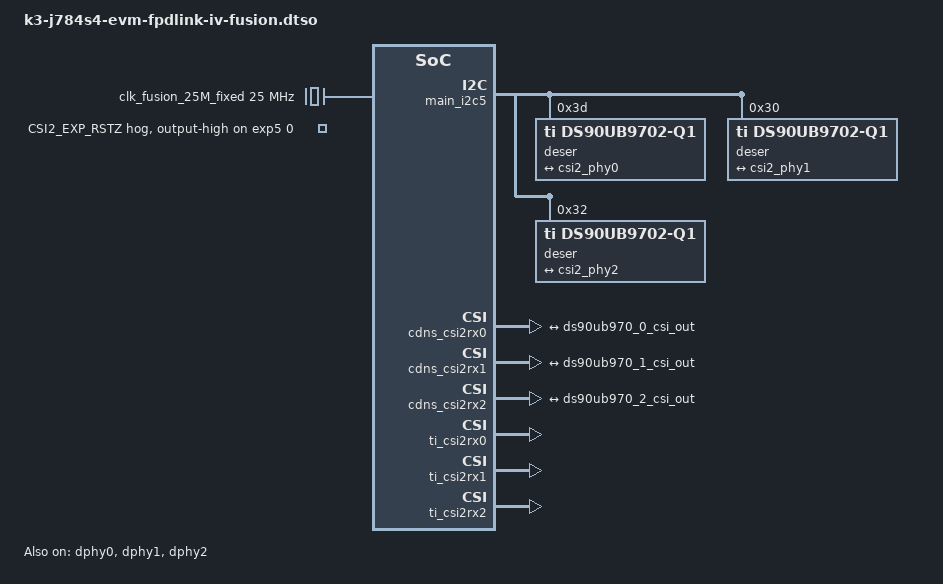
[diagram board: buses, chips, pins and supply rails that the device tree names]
// SPDX-License-Identifier: GPL-2.0-only OR MIT
/*
 * DT Overlay for FPDLink IV UB9702 Deserializer on J784S4 EVM
 * https://www.ti.com/tool/J7EXPA01EVM
 *
 * Copyright (C) 2025 Texas Instruments Incorporated - https://www.ti.com/
 */

/dts-v1/;
/plugin/;

#include <dt-bindings/gpio/gpio.h>

&{/} {
	clk_fusion_25M_fixed: fixed-clock-25M {
		compatible = "fixed-clock";
		#clock-cells = <0>;
		clock-frequency = <25000000>;
	};
};

&exp5 {
	p0-hog{
		gpio-hog;
		gpios = <0 GPIO_ACTIVE_HIGH>;
		output-high;
		line-name = "CSI2_EXP_RSTZ";
	};
};

&main_i2c5 {
	#address-cells = <1>;
	#size-cells = <0>;
	status = "okay";

	deser@3d {
		compatible = "ti,ds90ub9702-q1";
		reg = <0x3d>;
		clocks = <&clk_fusion_25M_fixed>;
		clock-names = "refclk";
		i2c-alias-pool = <0x4a 0x4b 0x4c 0x4d 0x4e 0x4f>;

		deserializer_0_ports: ports {
			#address-cells = <1>;
			#size-cells = <0>;

			/* CSI-2 TX */
			port@4 {
				reg = <4>;
				ds90ub970_0_csi_out: endpoint {
					clock-lanes = <0>;
					data-lanes = <1 2 3 4>;
					link-frequencies = /bits/ 64 <800000000>;
					remote-endpoint = <&csi2_phy0>;
				};
			};
		};

		deserializer_0_links: links {
			#address-cells = <1>;
			#size-cells = <0>;
		};
	};

	deser@30 {
		compatible = "ti,ds90ub9702-q1";
		reg = <0x30>;
		clocks = <&clk_fusion_25M_fixed>;
		clock-names = "refclk";
		i2c-alias-pool = <0x5a 0x5b 0x5c 0x5d 0x5e 0x5f>;

		deserializer_1_ports: ports {
			#address-cells = <1>;
			#size-cells = <0>;

			/* CSI-2 TX */
			port@4 {
				reg = <4>;
				ds90ub970_1_csi_out: endpoint {
					clock-lanes = <0>;
					data-lanes = <1 2 3 4>;
					link-frequencies = /bits/ 64 <800000000>;
					remote-endpoint = <&csi2_phy1>;
				};
			};
		};

		deserializer_1_links: links {
			#address-cells = <1>;
			#size-cells = <0>;
		};
	};

	deser@32 {
		compatible = "ti,ds90ub9702-q1";
		reg = <0x32>;
		clocks = <&clk_fusion_25M_fixed>;
		clock-names = "refclk";
		i2c-alias-pool = <0x6a 0x6b 0x6c 0x6d 0x6e 0x6f>;

		deserializer_2_ports: ports {
			#address-cells = <1>;
			#size-cells = <0>;

			/* CSI-2 TX */
			port@4 {
				reg = <4>;
				ds90ub970_2_csi_out: endpoint {
					clock-lanes = <0>;
					data-lanes = <1 2 3 4>;
					link-frequencies = /bits/ 64 <800000000>;
					remote-endpoint = <&csi2_phy2>;
				};
			};
		};

		deserializer_2_links: links {
			#address-cells = <1>;
			#size-cells = <0>;
		};
	};
};

&cdns_csi2rx0 {
	ports {
		#address-cells = <1>;
		#size-cells = <0>;

		csi0_port0: port@0 {
			reg = <0>;
			status = "okay";

			csi2_phy0: endpoint {
				remote-endpoint = <&ds90ub970_0_csi_out>;
				clock-lanes = <0>;
				data-lanes = <1 2 3 4>;
				link-frequencies = /bits/ 64 <800000000>;

			};
		};
	};
};

&cdns_csi2rx1 {
	ports {
		#address-cells = <1>;
		#size-cells = <0>;

		csi1_port0: port@0 {
			reg = <0>;
			status = "okay";

			csi2_phy1: endpoint {
				remote-endpoint = <&ds90ub970_1_csi_out>;
				bus-type = <4>; /* CSI2 DPHY */
				clock-lanes = <0>;
				data-lanes = <1 2 3 4>;
				link-frequencies = /bits/ 64 <800000000>;
			};
		};
	};
};

&cdns_csi2rx2 {
	ports {
		#address-cells = <1>;
		#size-cells = <0>;

		csi2_port0: port@0 {
			reg = <0>;
			status = "okay";

			csi2_phy2: endpoint {
				remote-endpoint = <&ds90ub970_2_csi_out>;
				bus-type = <4>; /* CSI2 DPHY */
				clock-lanes = <0>;
				data-lanes = <1 2 3 4>;
				link-frequencies = /bits/ 64 <800000000>;
			};
		};
	};
};

&ti_csi2rx0 {
	status = "okay";
};

&ti_csi2rx1 {
	status = "okay";
};

&ti_csi2rx2 {
	status = "okay";
};

&dphy0 {
	status = "okay";
};

&dphy1 {
	status = "okay";
};

&dphy2 {
	status = "okay";
};
